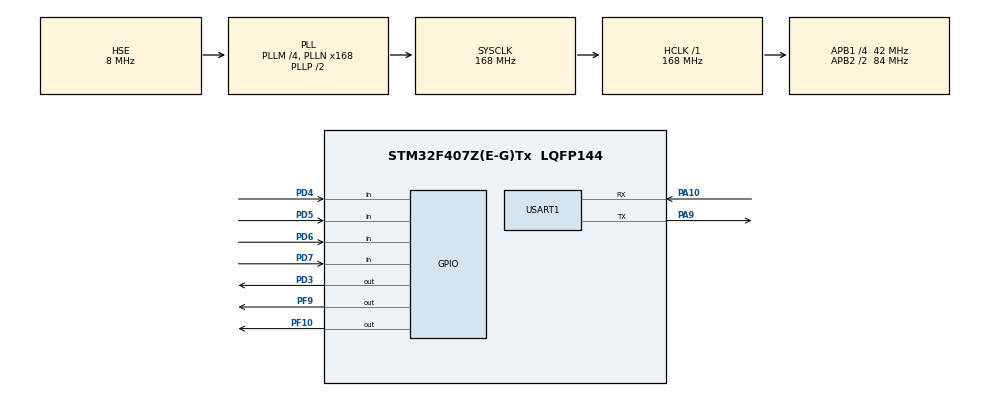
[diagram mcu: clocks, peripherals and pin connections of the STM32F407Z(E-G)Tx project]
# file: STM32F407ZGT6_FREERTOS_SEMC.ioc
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FREERTOS.CountingSemaphores01=myCountingSem01,10,Dynamic,NULL
FREERTOS.Tasks01=TF,0,128,TF_Task,Default,NULL,Dynamic,NULL,NULL;QZ,0,128,QZ_Task,Default,NULL,Dynamic,NULL,NULL
FREERTOS.configUSE_COUNTING_SEMAPHORES=1
Mcu.Family=STM32F4
Mcu.Name=STM32F407Z(E-G)Tx
Mcu.Package=LQFP144
NVIC.PriorityGroup=NVIC_PRIORITYGROUP_4
NVIC.TIM7_IRQn=true\:15\:0\:false\:false\:true\:false\:false\:true\:true
NVIC.TimeBase=TIM7_IRQn
NVIC.TimeBaseIP=TIM7
PA10.Mode=Asynchronous
PA10.Signal=USART1_RX
PA13.Mode=Serial_Wire
PA13.Signal=SYS_JTMS-SWDIO
PA14.Mode=Serial_Wire
PA14.Signal=SYS_JTCK-SWCLK
PA9.Mode=Asynchronous
PA9.Signal=USART1_TX
PD3.Signal=GPIO_Output
PD4.GPIO_PuPd=GPIO_PULLUP
PD4.Signal=GPIO_Input
PD5.GPIO_PuPd=GPIO_PULLUP
PD5.Signal=GPIO_Input
PD6.GPIO_PuPd=GPIO_PULLUP
PD6.Signal=GPIO_Input
PD7.GPIO_PuPd=GPIO_PULLUP
PD7.Signal=GPIO_Input
PF10.Signal=GPIO_Output
PF9.Signal=GPIO_Output
PH0-OSC_IN.Mode=HSE-External-Oscillator
PH0-OSC_IN.Signal=RCC_OSC_IN
PH1-OSC_OUT.Mode=HSE-External-Oscillator
PH1-OSC_OUT.Signal=RCC_OSC_OUT
ProjectManager.HeapSize=0x200
ProjectManager.StackSize=0x400
ProjectManager.TargetToolchain=MDK-ARM V5.32
RCC.48MHZClocksFreq_Value=84000000
RCC.AHBFreq_Value=168000000
RCC.APB1CLKDivider=RCC_HCLK_DIV4
RCC.APB1Freq_Value=42000000
RCC.APB1TimFreq_Value=84000000
RCC.APB2CLKDivider=RCC_HCLK_DIV2
RCC.APB2Freq_Value=84000000
RCC.APB2TimFreq_Value=168000000
RCC.CortexFreq_Value=168000000
RCC.HCLKFreq_Value=168000000
RCC.HSE_VALUE=8000000
RCC.HSI_VALUE=16000000
RCC.LSE_VALUE=32768
RCC.PLLM=4
RCC.PLLN=168
RCC.PLLSourceVirtual=RCC_PLLSOURCE_HSE
RCC.SYSCLKFreq_VALUE=168000000
RCC.SYSCLKSource=RCC_SYSCLKSOURCE_PLLCLK
RCC.VCOOutputFreq_Value=336000000
USART1.VirtualMode=VM_ASYNC
VP_FREERTOS_VS_CMSIS_V1.Mode=CMSIS_V1
VP_SYS_VS_tim7.Mode=TIM7
board=custom

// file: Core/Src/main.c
/* USER CODE BEGIN Header */
/**
  ******************************************************************************
  * @file           : main.c
  * @brief          : Main program body
  ******************************************************************************
  * @attention
  *
  * Copyright (c) 2023 STMicroelectronics.
  * All rights reserved.
  *
  * This software is licensed under terms that can be found in the LICENSE file
  * in the root directory of this software component.
  * If no LICENSE file comes with this software, it is provided AS-IS.
  *
  ******************************************************************************
  */
/* USER CODE END Header */
#include "main.h"
#include "cmsis_os.h"
#include "usart.h"
#include "gpio.h"

void SystemClock_Config(void);
void MX_FREERTOS_Init(void);

int main(void)
{

  /* MCU Configuration--------------------------------------------------------*/

  /* Reset of all peripherals, Initializes the Flash interface and the Systick. */
  HAL_Init();

  /* Configure the system clock */
  SystemClock_Config();

  /* Initialize all configured peripherals */
  MX_GPIO_Init();
  MX_USART1_UART_Init();

  /* Call init function for freertos objects (in freertos.c) */
  MX_FREERTOS_Init();

  /* Start scheduler */
  osKernelStart();

  /* We should never get here as control is now taken by the scheduler */
  /* Infinite loop */
  while (1)
  {

  }
}

void SystemClock_Config(void)
{
  RCC_OscInitTypeDef RCC_OscInitStruct = {0};
  RCC_ClkInitTypeDef RCC_ClkInitStruct = {0};

  /** Configure the main internal regulator output voltage
  */
  __HAL_RCC_PWR_CLK_ENABLE();
  __HAL_PWR_VOLTAGESCALING_CONFIG(PWR_REGULATOR_VOLTAGE_SCALE1);

  /** Initializes the RCC Oscillators according to the specified parameters
  * in the RCC_OscInitTypeDef structure.
  */
  RCC_OscInitStruct.OscillatorType = RCC_OSCILLATORTYPE_HSE;
  RCC_OscInitStruct.HSEState = RCC_HSE_ON;
  RCC_OscInitStruct.PLL.PLLState = RCC_PLL_ON;
  RCC_OscInitStruct.PLL.PLLSource = RCC_PLLSOURCE_HSE;
  RCC_OscInitStruct.PLL.PLLM = 4;
  RCC_OscInitStruct.PLL.PLLN = 168;
  RCC_OscInitStruct.PLL.PLLP = RCC_PLLP_DIV2;
  RCC_OscInitStruct.PLL.PLLQ = 4;
  if (HAL_RCC_OscConfig(&RCC_OscInitStruct) != HAL_OK)
  {
    Error_Handler();
  }

  /** Initializes the CPU, AHB and APB buses clocks
  */
  RCC_ClkInitStruct.ClockType = RCC_CLOCKTYPE_HCLK|RCC_CLOCKTYPE_SYSCLK
                              |RCC_CLOCKTYPE_PCLK1|RCC_CLOCKTYPE_PCLK2;
  RCC_ClkInitStruct.SYSCLKSource = RCC_SYSCLKSOURCE_PLLCLK;
  RCC_ClkInitStruct.AHBCLKDivider = RCC_SYSCLK_DIV1;
  RCC_ClkInitStruct.APB1CLKDivider = RCC_HCLK_DIV4;
  RCC_ClkInitStruct.APB2CLKDivider = RCC_HCLK_DIV2;

  if (HAL_RCC_ClockConfig(&RCC_ClkInitStruct, FLASH_LATENCY_5) != HAL_OK)
  {
    Error_Handler();
  }
}

void HAL_TIM_PeriodElapsedCallback(TIM_HandleTypeDef *htim)
{
  if (htim->Instance == TIM7) {
    HAL_IncTick();
  }
}

void Error_Handler(void)
{
  __disable_irq();
  while (1)
  {
  }
}

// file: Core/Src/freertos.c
/* USER CODE BEGIN Header */
/**
  ******************************************************************************
  * File Name          : freertos.c
  * Description        : Code for freertos applications
  ******************************************************************************
  * @attention
  *
  * Copyright (c) 2023 STMicroelectronics.
  * All rights reserved.
  *
  * This software is licensed under terms that can be found in the LICENSE file
  * in the root directory of this software component.
  * If no LICENSE file comes with this software, it is provided AS-IS.
  *
  ******************************************************************************
  */
/* USER CODE END Header */

#include "FreeRTOS.h"
#include "task.h"
#include "main.h"
#include "cmsis_os.h"

/* USER CODE BEGIN Includes */
#include "stdio.h"
#include "usart.h"
/* USER CODE END Includes */

osThreadId TFHandle;
osThreadId QZHandle;
osSemaphoreId myCountingSem01Handle;

/* USER CODE BEGIN FunctionPrototypes */
uint8_t key_scan(void);
uint8_t mun = 0;
SemaphoreHandle_t semc;
/* USER CODE END FunctionPrototypes */

void TF_Task(void const * argument);
void QZ_Task(void const * argument);

void MX_FREERTOS_Init(void); /* (MISRA C 2004 rule 8.1) */

/* GetIdleTaskMemory prototype (linked to static allocation support) */
void vApplicationGetIdleTaskMemory( StaticTask_t **ppxIdleTaskTCBBuffer, StackType_t **ppxIdleTaskStackBuffer, uint32_t *pulIdleTaskStackSize );

/* USER CODE BEGIN GET_IDLE_TASK_MEMORY */
static StaticTask_t xIdleTaskTCBBuffer;
static StackType_t xIdleStack[configMINIMAL_STACK_SIZE];

void vApplicationGetIdleTaskMemory( StaticTask_t **ppxIdleTaskTCBBuffer, StackType_t **ppxIdleTaskStackBuffer, uint32_t *pulIdleTaskStackSize )
{
  *ppxIdleTaskTCBBuffer = &xIdleTaskTCBBuffer;
  *ppxIdleTaskStackBuffer = &xIdleStack[0];
  *pulIdleTaskStackSize = configMINIMAL_STACK_SIZE;
  /* place for user code */
}
/* USER CODE END GET_IDLE_TASK_MEMORY */

void MX_FREERTOS_Init(void) {

  /* Create the semaphores(s) */
  /* definition and creation of myCountingSem01 */
  osSemaphoreDef(myCountingSem01);
  myCountingSem01Handle = osSemaphoreCreate(osSemaphore(myCountingSem01), 10);//cubemx默认计数最大

  /* USER CODE BEGIN RTOS_SEMAPHORES */
  /* add semaphores, ... */
  semc = xSemaphoreCreateCounting(5,0);    //自己创建比较好用
  /* USER CODE END RTOS_SEMAPHORES */

  /* Create the thread(s) */
  /* definition and creation of TF */
  osThreadDef(TF, TF_Task, osPriorityNormal, 0, 128);
  TFHandle = osThreadCreate(osThread(TF), NULL);

  /* definition and creation of QZ */
  osThreadDef(QZ, QZ_Task, osPriorityNormal, 0, 128);
  QZHandle = osThreadCreate(osThread(QZ), NULL);

}

void TF_Task(void const * argument)
{
  /* USER CODE BEGIN TF_Task */
  /* Infinite loop */
  for(;;)
  {
    if(key_scan() == 1)
    {
      if(xSemaphoreGive(semc) == pdTRUE)
      {
        mun++;
        printf("give sem\r\n");
        printf("mun:%d\r\n",mun);
      }
      else
        printf("give fail\r\n");
    }
  }
  /* USER CODE END TF_Task */
}

void QZ_Task(void const * argument)
{
  /* USER CODE BEGIN QZ_Task */
  /* Infinite loop */
  for(;;)
  {
    if(key_scan() == 2)
    {
      if(xSemaphoreTake(semc,0) == pdTRUE)
      {
        mun--;
        printf("take sem\r\n");
        printf("mun:%d\r\n",mun);
      }
      else
        printf("give fail\r\n");
    }
  }
  /* USER CODE END QZ_Task */
}

/* USER CODE BEGIN Application */
int fputc(int ch,FILE *f)
{
  HAL_UART_Transmit(&huart1,(uint8_t *)(&ch),sizeof(ch),HAL_MAX_DELAY);
  return ch;
}

uint8_t key_scan(void)
{
  uint8_t key_val = 0;
  if(HAL_GPIO_ReadPin(GPIOD,GPIO_PIN_4) == GPIO_PIN_RESET)
  {
    osDelay(10);
    if(HAL_GPIO_ReadPin(GPIOD,GPIO_PIN_4) == GPIO_PIN_RESET)
      key_val = 1;
    while(HAL_GPIO_ReadPin(GPIOD,GPIO_PIN_4) == GPIO_PIN_RESET);
  }
  if(HAL_GPIO_ReadPin(GPIOD,GPIO_PIN_5) == GPIO_PIN_RESET)
  {
    osDelay(10);
    if(HAL_GPIO_ReadPin(GPIOD,GPIO_PIN_5) == GPIO_PIN_RESET)
      key_val = 2;
    while(HAL_GPIO_ReadPin(GPIOD,GPIO_PIN_5) == GPIO_PIN_RESET);
  }
  return key_val;
}
/* USER CODE END Application */
